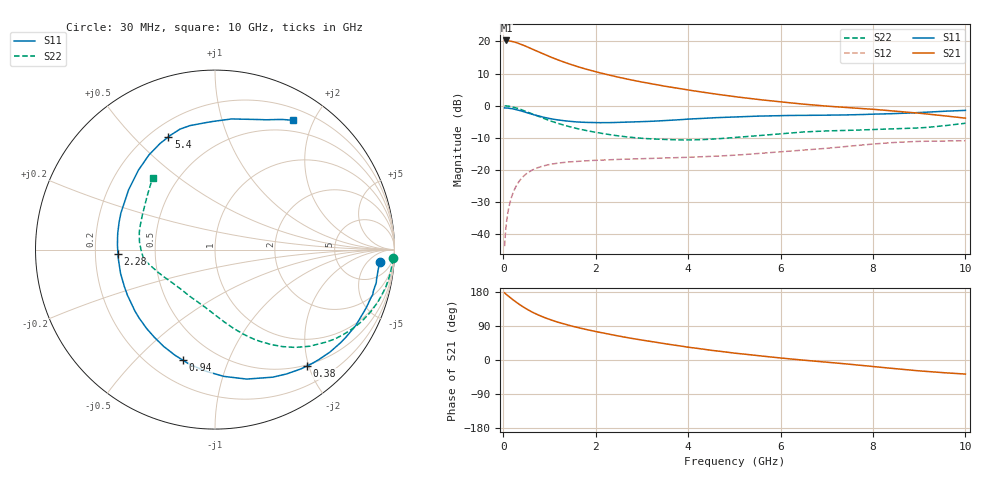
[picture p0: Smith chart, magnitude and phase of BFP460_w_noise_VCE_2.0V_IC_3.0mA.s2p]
! (c) 2016  Infineon Technologies AG, Munich
! Infineon Technologies  Discrete & RF Semiconductors
! BFP460
! VCE =  2.0 V,  IC =  3.0 mA
! Common Emitter S-Parameters:  Jan 2016
# GHz  S  MA  R  50
!  f  S11  S21  S12  S22
! GHz  MAG  ANG  MAG  ANG  MAG  ANG  MAG  ANG
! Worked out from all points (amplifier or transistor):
!   229 points, 30 MHz to 10 GHz, reference 50 ohm
!   highest |S21| = 20.3 dB at 70 MHz (marker M1)
!   |S21| within 3 dB of that: start of sweep to 675.9 MHz
!   unconditionally stable (mu >= 1): 3.554 GHz to 8.231 GHz
!   at 280 MHz: K = 0.11, MSG = 22.4 dB, |S12| = -25.1 dB
!   at 1.78 GHz: K = 0.61, MSG = 14.3 dB, |S12| = -17.2 dB
!   at 10 GHz: K = 0.95, MSG = 3.5 dB, |S12| = -11.0 dB
!   lowest NFmin = 0.70 dB at 100 MHz
!   S11 on the Smith chart (normalised r, x): 30 MHz: 13, -12; 380 MHz: 0.48, -1.97; 940 MHz: 0.33, -0.70; 2.28 GHz: 0.30, -0.02; 5.4 GHz: 0.27, +0.63; 10 GHz: 0.35, +1.71
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0.03  0.9206 -4.4  10.35 177.4  0.0064 87.9  0.9916 -2.8
0.07  0.915 -10.2  10.37 172.4  0.015 84.0  0.9877 -6.4
0.14  0.9046 -20.1  10.21 165.8  0.0294 78.5  0.9726 -12.7
0.26  0.8712 -36.5  9.715 154.4  0.052 69.1  0.9282 -22.9
0.38  0.8265 -51.7  9.063 144.2  0.0709 61.0  0.8686 -31.9
0.5  0.7804 -65.6  8.354 135.0  0.0863 54.0  0.8051 -39.8
0.6  0.7429 -76.2  7.772 128.1  0.0963 49.0  0.7535 -45.6
0.8  0.6781 -94.9  6.696 116.5  0.1108 41.1  0.659 -55.1
0.94  0.6415 -106.2  6.068 109.9  0.1178 37.0  0.6039 -60.4
1.1  0.6106 -117.9  5.442 103.0  0.1239 33.0  0.5512 -65.8
1.28  0.5836 -129.6  4.864 96.3  0.1288 29.6  0.5026 -70.8
1.5  0.5627 -142.3  4.291 89.0  0.1333 26.4  0.4554 -76.2
1.7  0.5501 -152.5  3.87 83.1  0.1364 24.2  0.4215 -80.4
2.28  0.5413 -177.3  3.005 68.4  0.1427 20.0  0.3541 -92.0
2.8  0.5552 164.7  2.487 56.6  0.1468 17.7  0.3177 -103.0
3.4  0.5784 147.9  2.064 44.9  0.1511 16.6  0.2977 -115.8
4  0.6146 134.0  1.751 33.8  0.1559 16.0  0.2906 -129.3
5.1  0.6686 116.2  1.352 17.0  0.1696 16.8  0.3207 -151.3
5.4  0.6793 112.5  1.273 13.0  0.1758 16.9  0.3329 -155.6
6.8  0.7056 98.2  1.008 -3.6  0.2098 14.9  0.396 -172.1
8.4  0.7463 76.8  0.828 -22.0  0.2637 6.6  0.4321 167.5
10  0.8403 59.0  0.636 -37.1  0.2823 -4.8  0.5297 131.1
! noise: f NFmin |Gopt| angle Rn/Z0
0.1  0.7  0.49  1  0.2
0.45  0.71  0.48  19  0.2
0.9  0.75  0.46  37  0.21
1.9  1.09  0.27  93  0.15
3.5  1.43  0.36  -162  0.1
